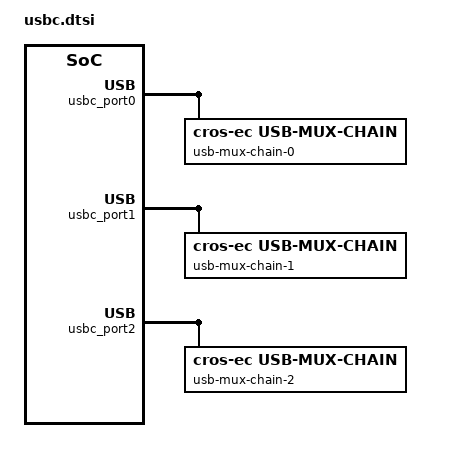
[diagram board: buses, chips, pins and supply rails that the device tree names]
/* Copyright 2023 The ChromiumOS Authors
 * Use of this source code is governed by a BSD-style license that can be
 * found in the LICENSE file.
 */

/ {
	usbc {
		#address-cells = <1>;
		#size-cells = <0>;

		usbc_port0: port0@0 {
			compatible = "named-usbc-port";
			reg = <0>;
			ppc = <&ppc_port0_syv>;
			tcpc = <&tcpc_port0>;
			usb-mux-chain-0 {
				compatible = "cros-ec,usb-mux-chain";
				usb-muxes = <&usb_c0_hb_retimer
					     &virtual_mux_c0>;
			};
		};
		port0-muxes {
			virtual_mux_c0: virtual-mux-c0 {
				compatible = "cros-ec,usbc-mux-virtual";
			};
		};

		usbc_port1: port1@1 {
			compatible = "named-usbc-port";
			reg = <1>;
			ppc = <&ppc_port1_syv>;
			tcpc = <&tcpc_port1>;
			usb-mux-chain-1 {
				compatible = "cros-ec,usb-mux-chain";
				usb-muxes = <&usb_c1_hb_retimer
					     &virtual_mux_c1>;
			};
		};
		port1-muxes {
			virtual_mux_c1: virtual-mux-c1 {
				compatible = "cros-ec,usbc-mux-virtual";
			};
		};

		usbc_port2: port2@2 {
			compatible = "named-usbc-port";
			reg = <2>;
			ppc = <&ppc_port2_syv>;
			tcpc = <&tcpc_port2>;
			usb-mux-chain-2 {
				compatible = "cros-ec,usb-mux-chain";
				usb-muxes = <&usb_c2_hb_retimer
					     &virtual_mux_c2>;
			};
		};
		port2-muxes {
			virtual_mux_c2: virtual-mux-c2 {
				compatible = "cros-ec,usbc-mux-virtual";
			};
		};
	};
};
